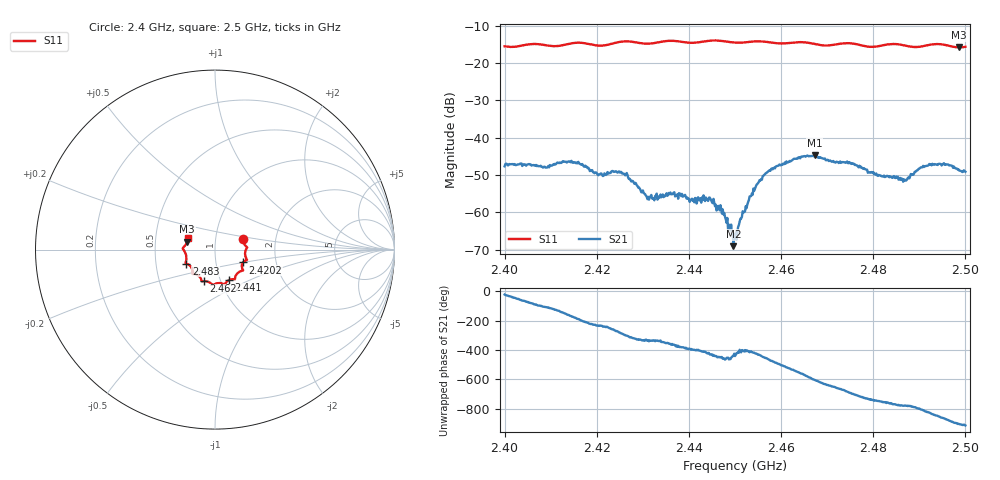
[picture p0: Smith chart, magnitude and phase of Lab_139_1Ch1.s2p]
# Hz S RI R 50
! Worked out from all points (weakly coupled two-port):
!   601 points, 2.4 GHz to 2.5 GHz, reference 50 ohm
!   highest |S21| = -44.70 dB at 2.4673 GHz (marker M1); lowest = -69.1 dB at 2.4497 GHz (marker M2)
!   lowest |S11| = -15.8 dB at 2.4987 GHz (marker M3), VSWR 1.39, Z = 36.4 + j3.28 ohm
!   |S11| at or under -10 dB: start of sweep to end of sweep
!   S12 and S22 are empty: the file has one direction only
!   S11 on the Smith chart (normalised r, x): 2.4 GHz: 1.36, +0.17; 2.4202 GHz: 1.35, -0.20; 2.441 GHz: 1.10, -0.39; 2.462 GHz: 0.83, -0.30; 2.483 GHz: 0.72, -0.12; 2.5 GHz: 0.73, +0.09
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2.4e9  0.1564 0.0604  0.00384 -0.00155  0 0  0 0
2.416667e9  0.1776 -0.0583  -0.00411 0.0014  0 0  0 0
2.420167e9  0.1561 -0.0718  -0.00192 0.00256  0 0  0 0
2.425333e9  0.1563 -0.1141  0.000994 0.00333  0 0  0 0
2.430833e9  0.1268 -0.1307  0.00145 0.00073  0 0  0 0
2.433333e9  0.1128 -0.1523  0.00143 0.000551  0 0  0 0
2.441e9  0.0769 -0.1706  0.00114 -0.000942  0 0  0 0
2.444833e9  0.0545 -0.1925  0.000498 -0.00136  0 0  0 0
2.447333e9  0.0469 -0.1917  -0.000188 -0.00108  0 0  0 0
2.449667e9  0.03 -0.1863  5.96e-05 -0.000347  0 0  0 0
2.45e9  0.0267 -0.1862  6.34e-05 -0.000433  0 0  0 0
2.4515e9  0.0119 -0.1877  0.000659 -0.000568  0 0  0 0
2.455167e9  -0.0108 -0.1954  0.000788 -0.00242  0 0  0 0
2.462e9  -0.0617 -0.176  -0.00469 -0.000963  0 0  0 0
2.466667e9  -0.0764 -0.167  -0.00318 0.00471  0 0  0 0
2.467333e9  -0.0785 -0.1621  -0.00251 0.00525  0 0  0 0
2.483e9  -0.1593 -0.078  0.00243 -0.00191  0 0  0 0
2.483333e9  -0.1609 -0.0773  0.00229 -0.00203  0 0  0 0
2.487e9  -0.1605 -0.0594  0.00138 -0.00235  0 0  0 0
2.4925e9  -0.1767 0.000645  -0.00174 -0.00405  0 0  0 0
2.498667e9  -0.1558 0.0439  -0.0036 0.000377  0 0  0 0
2.5e9  -0.1531 0.0627  -0.00338 0.000904  0 0  0 0
